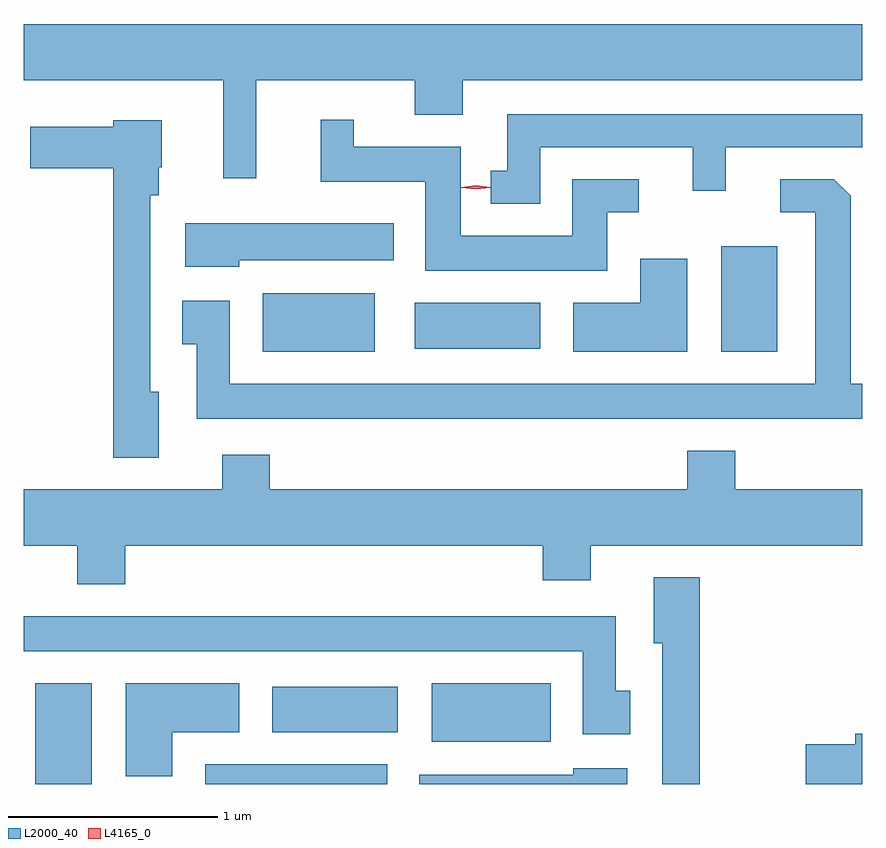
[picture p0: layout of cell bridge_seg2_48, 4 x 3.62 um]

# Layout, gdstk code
import gdstk
lib = gdstk.Library(unit=1e-6, precision=1e-09)
def R(c, l, rs):  # rectangles x0, y0, x1, y1
    for r in rs: c.add(gdstk.rectangle(r[:2], r[2:], *l))
def P(c, l, *ps):  # polygons
    for p in ps: c.add(gdstk.Polygon(p, *l))
L2000_40 = (2000, 40)
L4165_0 = (4165, 0)

bridge_seg2_48 = lib.new_cell('bridge_seg2_48')
R(bridge_seg2_48, L2000_40, [(1378.571,1053.839,1378.839,1054.319), (1379.381,1053.839,1380.249,1053.934), (1380.461,1054.041,1381.029,1054.319), (1379.701,1054.086,1380.299,1054.304), (1379.656,1055.901,1380.189,1056.179), (1381.841,1055.901,1382.109,1056.404), (1380.381,1055.916,1380.979,1056.134)])
P(bridge_seg2_48, L2000_40, [(1378.515,1057.196),(1379.466,1057.196),(1379.466,1056.728),(1379.624,1056.728),(1379.624,1057.196),(1380.381,1057.196),(1380.381,1057.031),(1380.609,1057.031),(1380.609,1057.196),(1382.515,1057.196),(1382.515,1057.464),(1378.515,1057.464)],
  [(1380.979,1056.876),(1381.706,1056.876),(1381.706,1056.668),(1381.864,1056.668),(1381.864,1056.876),(1382.515,1056.876),(1382.515,1057.034),(1380.821,1057.034),(1380.821,1056.764),(1380.743,1056.764),(1380.743,1056.606),(1380.979,1056.606)],
  [(1381.299,1056.566),(1381.448,1056.566),(1381.448,1056.724),(1381.131,1056.724),(1381.131,1056.454),(1380.599,1056.454),(1380.599,1056.879),(1380.089,1056.879),(1380.089,1057.008),(1379.931,1057.008),(1379.931,1056.711),(1380.431,1056.711),(1380.431,1056.286),(1381.299,1056.286)],
  [(1379.159,1055.709),(1379.119,1055.709),(1379.119,1056.646),(1379.159,1056.646),(1379.159,1056.78),(1379.174,1056.78),(1379.174,1057.004),(1378.941,1057.004),(1378.941,1056.974),(1378.546,1056.974),(1378.546,1056.776),(1378.941,1056.776),(1378.941,1055.396),(1379.159,1055.396)],
  [(1382.515,1055.749),(1382.459,1055.749),(1382.459,1056.644),(1382.379,1056.724),(1382.123,1056.724),(1382.123,1056.566),(1382.291,1056.566),(1382.291,1055.749),(1379.499,1055.749),(1379.499,1056.144),(1379.271,1056.144),(1379.271,1055.936),(1379.341,1055.936),(1379.341,1055.581),(1382.515,1055.581)],
  [(1379.544,1056.336),(1380.279,1056.336),(1380.279,1056.514),(1379.286,1056.514),(1379.286,1056.306),(1379.544,1056.306)],
  [(1381.679,1056.344),(1381.456,1056.344),(1381.456,1056.134),(1381.136,1056.134),(1381.136,1055.901),(1381.679,1055.901)],
  [(1378.999,1054.976),(1380.991,1054.976),(1380.991,1054.811),(1381.219,1054.811),(1381.219,1054.976),(1382.515,1054.976),(1382.515,1055.244),(1381.909,1055.244),(1381.909,1055.429),(1381.681,1055.429),(1381.681,1055.244),(1379.689,1055.244),(1379.689,1055.409),(1379.461,1055.409),(1379.461,1055.244),(1378.515,1055.244),(1378.515,1054.976),(1378.771,1054.976),(1378.771,1054.791),(1378.999,1054.791)],
  [(1381.739,1054.824),(1381.521,1054.824),(1381.521,1054.511),(1381.561,1054.511),(1381.561,1053.839),(1381.739,1053.839)],
  [(1381.409,1054.284),(1381.339,1054.284),(1381.339,1054.639),(1378.515,1054.639),(1378.515,1054.471),(1381.181,1054.471),(1381.181,1054.076),(1381.409,1054.076)],
  [(1379.224,1054.086),(1379.544,1054.086),(1379.544,1054.319),(1379.001,1054.319),(1379.001,1053.876),(1379.224,1053.876)],
  [(1382.515,1054.079),(1382.481,1054.079),(1382.481,1054.029),(1382.246,1054.029),(1382.246,1053.839),(1382.515,1053.839)],
  [(1381.394,1053.914),(1381.136,1053.914),(1381.136,1053.884),(1380.401,1053.884),(1380.401,1053.839),(1381.394,1053.839)])
P(bridge_seg2_48, L4165_0, [(1380.671,1056.675),(1380.602,1056.684),(1380.602,1056.684),(1380.602,1056.685),(1380.671,1056.694),(1380.741,1056.686),(1380.741,1056.685),(1380.741,1056.684)])

lib.write_gds('bridge_seg2_48.gds')
